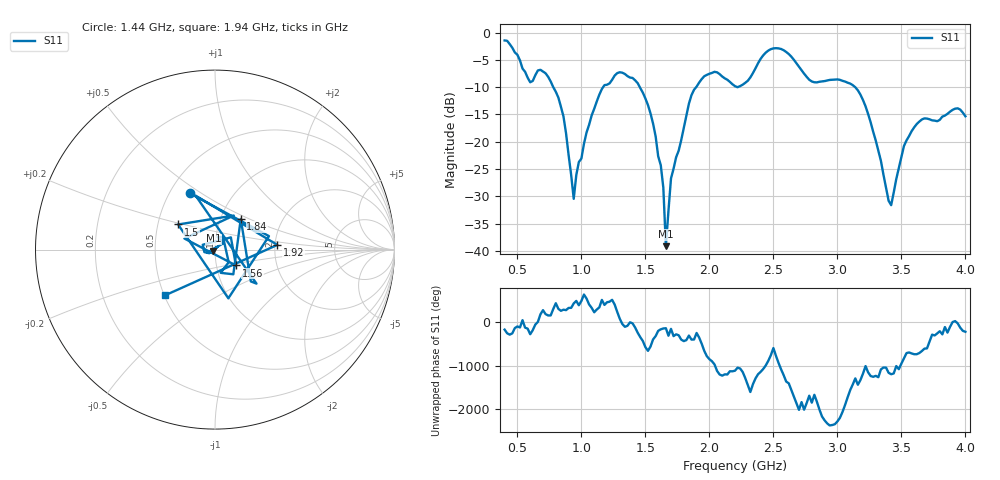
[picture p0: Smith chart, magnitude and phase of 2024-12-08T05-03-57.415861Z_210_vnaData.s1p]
!Created with skrf (http://scikit-rf.org).
# Hz S RI R 50.0
!freq ReS11 ImS11
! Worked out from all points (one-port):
!   181 points, 400 MHz to 4 GHz, reference 50 ohm
!   lowest |S11| = -39.2 dB at 1.66 GHz (marker M1), VSWR 1.02, Z = 49.1 - j0.673 ohm
!   |S11| at or under -10 dB: 780.1 MHz to 1.17 GHz (389.6 MHz wide, 40 % of centre); 1.456 GHz to 1.897 GHz (440.6 MHz wide, 26.3 % of centre); 3.139 GHz to end of sweep (the widest 3 of 4)
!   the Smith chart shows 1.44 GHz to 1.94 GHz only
!   S11 on the Smith chart (normalised r, x): 1.44 GHz: 0.63, +0.45; 1.5 GHz: 0.64, +0.19; 1.56 GHz: 1.24, -0.22; 1.84 GHz: 1.25, +0.45; 1.92 GHz: 2.06, +0.12; 1.94 GHz: 0.51, -0.30
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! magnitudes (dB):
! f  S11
! 400 MHz  -1.4
! 600 MHz  -9.1
! 720 MHz  -7.5
! 860 MHz  -15.4
! 940 MHz  -30.5
! 980 MHz  -23.7
! 1.08 GHz  -15.2
! 1.3 GHz  -7.3
! 1.44 GHz  -9.3
! 1.5 GHz  -12.1
! 1.56 GHz  -16.7
! 1.64 GHz  -28.4
! 1.66 GHz  -39.2
! 1.7 GHz  -26.7
! 1.76 GHz  -21.6
! 1.84 GHz  -13.0
! 1.92 GHz  -9.2
! 1.94 GHz  -8.5
! 2.2 GHz  -9.8
! 2.48 GHz  -3.0
! 2.66 GHz  -5.0
! 2.8 GHz  -9.0
! 3.1 GHz  -9.3
! 3.22 GHz  -13.5
! 3.42 GHz  -31.6
! 3.56 GHz  -19.0
! 3.68 GHz  -15.7
! 4 GHz  -15.3
